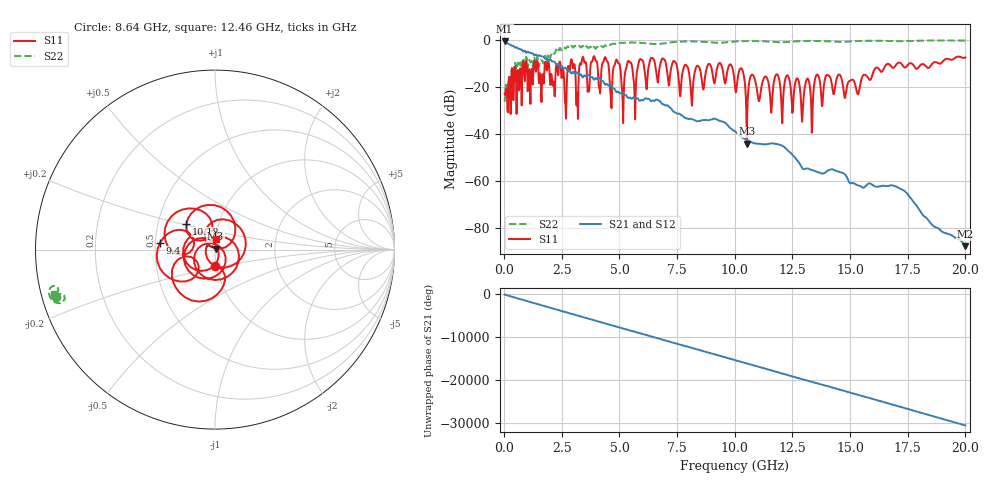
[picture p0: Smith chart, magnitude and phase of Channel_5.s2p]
! Created Sun Jun 24 21:03:52 2012
# hz S ma R 100
! 2 Port Network Data from SP1.SP block
! freq  magS11  angS11  magS21  angS21  magS12  angS12  magS22  angS22
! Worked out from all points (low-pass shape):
!   1000 points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, 20 MHz to 20 GHz, reference 100 ohm
!   highest |S21| = -0.51 dB at 20 MHz (marker M1); lowest = -87.5 dB at 20 GHz (marker M2)
!   |S21| within 3 dB of the highest: start of sweep to 585.8 MHz
!   lowest |S11| = -44.0 dB at 10.52 GHz (marker M3), VSWR 1.01, Z = 101 + j1.13 ohm
!   |S11| at or under -10 dB: 7.461 GHz to 9.305 GHz (1.844 GHz wide, 22 % of centre); 9.386 GHz to 17.03 GHz (7.647 GHz wide, 57.9 % of centre); 17.68 GHz to 18.56 GHz (884 MHz wide, 4.88 % of centre)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
!   |S22| runs from -26.1 to -0.1 dB; largest |S21 - S12| = 0.0002
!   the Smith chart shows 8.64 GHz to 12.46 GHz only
!   S11 on the Smith chart (normalised r, x): 8.64 GHz: 0.98, -0.18; 9.4 GHz: 0.53, +0.04; 10.18 GHz: 0.70, +0.21; 12.46 GHz: 1.01, +0.12
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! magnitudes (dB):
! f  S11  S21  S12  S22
! 20 MHz  -22.6  -0.5  -0.5  -26.1
! 1.38 GHz  -13.4  -6.1  -6.1  -12.7
! 3.18 GHz  -24.3  -13.8  -13.8  -2.9
! 3.36 GHz  -9.1  -15.0  -15.0  -2.9
! 4.42 GHz  -8.1  -18.7  -18.7  -2.4
! 4.64 GHz  -27.9  -19.3  -19.3  -1.9
! 4.92 GHz  -9.2  -21.9  -21.9  -1.4
! 5.16 GHz  -35.2  -22.8  -22.8  -1.1
! 5.42 GHz  -9.1  -24.4  -24.4  -1.0
! 6.68 GHz  -17.0  -25.6  -25.6  -1.6
! 8.64 GHz  -21.0  -34.0  -34.0  -0.7
! 9.4 GHz  -10.2  -34.4  -34.4  -1.1
! 10.02 GHz  -20.7  -38.8  -38.8  -0.6
! 10.18 GHz  -13.3  -40.3  -40.3  -0.5
! 10.52 GHz  -44.0  -42.3  -42.3  -0.4
! 10.76 GHz  -14.7  -43.5  -43.5  -0.4
! 12.46 GHz  -24.7  -48.3  -48.3  -0.6
! 13.34 GHz  -39.3  -55.1  -55.1  -0.3
! 13.56 GHz  -14.7  -56.0  -56.0  -0.3
! 15.34 GHz  -23.0  -61.7  -61.7  -0.4
! 16.68 GHz  -10.1  -61.9  -61.9  -0.4
! 20 GHz  -7.4  -87.5  -87.6  -0.2
